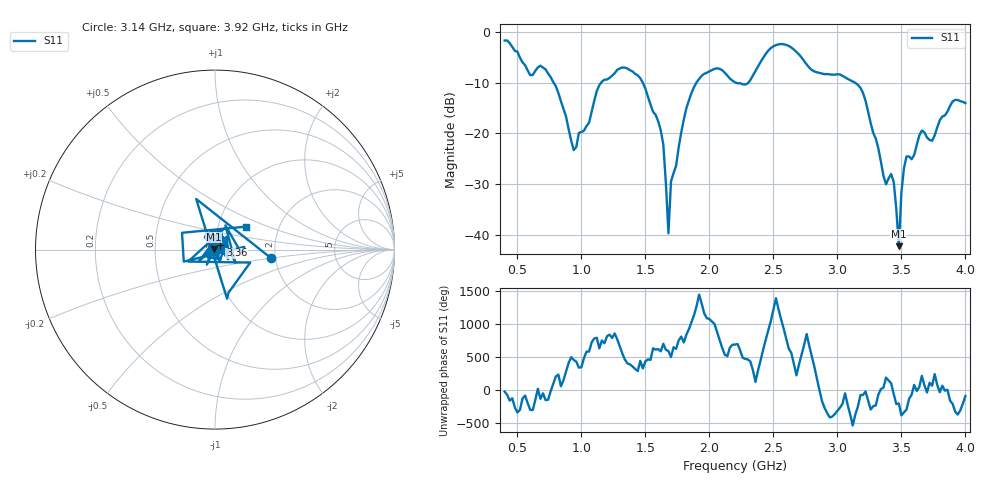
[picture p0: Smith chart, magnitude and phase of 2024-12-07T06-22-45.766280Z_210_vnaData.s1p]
!Created with skrf (http://scikit-rf.org).
# Hz S RI R 50.0
!freq ReS11 ImS11
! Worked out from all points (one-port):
!   181 points, 400 MHz to 4 GHz, reference 50 ohm
!   lowest |S11| = -42.3 dB at 3.48 GHz (marker M1), VSWR 1.02, Z = 49.3 + j0.288 ohm
!   |S11| at or under -10 dB: 782.9 MHz to 1.154 GHz (371.2 MHz wide, 38.3 % of centre); 1.48 GHz to 1.898 GHz (418.6 MHz wide, 24.8 % of centre); 3.138 GHz to end of sweep (the widest 3 of 4)
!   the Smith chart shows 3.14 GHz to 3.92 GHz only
!   S11 on the Smith chart (normalised r, x): 3.14 GHz: 1.89, -0.20; 3.36 GHz: 1.06, +0.05; 3.92 GHz: 1.36, +0.36
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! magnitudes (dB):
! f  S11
! 400 MHz  -1.7
! 600 MHz  -8.5
! 720 MHz  -7.4
! 860 MHz  -15.2
! 940 MHz  -23.3
! 1.14 GHz  -10.5
! 1.3 GHz  -7.2
! 1.46 GHz  -9.1
! 1.6 GHz  -17.6
! 1.64 GHz  -22.2
! 1.68 GHz  -39.7
! 1.7 GHz  -29.5
! 1.76 GHz  -22.8
! 1.84 GHz  -13.5
! 1.94 GHz  -8.6
! 2.2 GHz  -9.9
! 2.5 GHz  -2.8
! 2.66 GHz  -3.5
! 3.1 GHz  -9.5
! 3.14 GHz  -10.0
! 3.22 GHz  -13.6
! 3.36 GHz  -28.4
! 3.44 GHz  -29.6
! 3.48 GHz  -42.3
! 3.52 GHz  -26.9
! 3.56 GHz  -24.6
! 3.92 GHz  -13.4
! 4 GHz  -14.0
